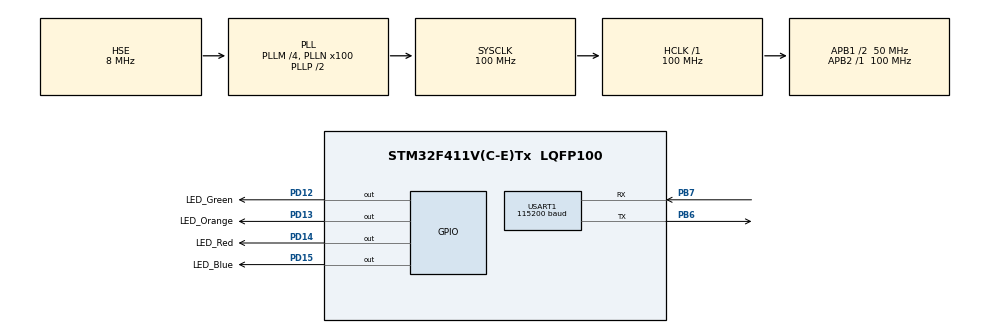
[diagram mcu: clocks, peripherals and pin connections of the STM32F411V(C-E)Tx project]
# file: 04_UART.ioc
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Dma.Request0=USART1_TX
Dma.Request1=USART1_RX
Dma.USART1_RX.1.Direction=DMA_PERIPH_TO_MEMORY
Dma.USART1_RX.1.FIFOMode=DMA_FIFOMODE_DISABLE
Dma.USART1_RX.1.Instance=DMA2_Stream2
Dma.USART1_RX.1.MemDataAlignment=DMA_MDATAALIGN_BYTE
Dma.USART1_RX.1.MemInc=DMA_MINC_ENABLE
Dma.USART1_RX.1.Mode=DMA_NORMAL
Dma.USART1_RX.1.PeriphDataAlignment=DMA_PDATAALIGN_BYTE
Dma.USART1_RX.1.PeriphInc=DMA_PINC_DISABLE
Dma.USART1_RX.1.Priority=DMA_PRIORITY_LOW
Dma.USART1_TX.0.Direction=DMA_MEMORY_TO_PERIPH
Dma.USART1_TX.0.FIFOMode=DMA_FIFOMODE_DISABLE
Dma.USART1_TX.0.Instance=DMA2_Stream7
Dma.USART1_TX.0.MemDataAlignment=DMA_MDATAALIGN_BYTE
Dma.USART1_TX.0.MemInc=DMA_MINC_ENABLE
Dma.USART1_TX.0.Mode=DMA_NORMAL
Dma.USART1_TX.0.PeriphDataAlignment=DMA_PDATAALIGN_BYTE
Dma.USART1_TX.0.PeriphInc=DMA_PINC_DISABLE
Dma.USART1_TX.0.Priority=DMA_PRIORITY_LOW
Mcu.Family=STM32F4
Mcu.Name=STM32F411V(C-E)Tx
Mcu.Package=LQFP100
NVIC.DMA2_Stream2_IRQn=true\:0\:0\:false\:false\:true
NVIC.DMA2_Stream7_IRQn=true\:0\:0\:false\:false\:true
NVIC.PriorityGroup=NVIC_PRIORITYGROUP_4
NVIC.TIM1_UP_TIM10_IRQn=true\:0\:0\:false\:false\:true
NVIC.USART1_IRQn=true\:0\:0\:false\:false\:true
PB6.Mode=Asynchronous
PB6.Signal=USART1_TX
PB7.Mode=Asynchronous
PB7.Signal=USART1_RX
PD12.GPIO_Label=LED_Green
PD12.Signal=GPIO_Output
PD13.GPIO_Label=LED_Orange
PD13.Signal=GPIO_Output
PD14.GPIO_Label=LED_Red
PD14.Signal=GPIO_Output
PD15.GPIO_Label=LED_Blue
PD15.Signal=GPIO_Output
PH0\ -\ OSC_IN.Mode=HSE-External-Oscillator
PH0\ -\ OSC_IN.Signal=RCC_OSC_IN
PH1\ -\ OSC_OUT.Mode=HSE-External-Oscillator
PH1\ -\ OSC_OUT.Signal=RCC_OSC_OUT
ProjectManager.HeapSize=0x200
ProjectManager.StackSize=0x400
ProjectManager.TargetToolchain=SW4STM32
RCC.48MHZClocksFreq_Value=50000000
RCC.AHBFreq_Value=100000000
RCC.APB1CLKDivider=RCC_HCLK_DIV2
RCC.APB1Freq_Value=50000000
RCC.APB1TimFreq_Value=100000000
RCC.APB2Freq_Value=100000000
RCC.APB2TimFreq_Value=100000000
RCC.CortexFreq_Value=100000000
RCC.HCLKFreq_Value=100000000
RCC.HSE_VALUE=8000000
RCC.HSI_VALUE=16000000
RCC.LSE_VALUE=32768
RCC.PLLM=4
RCC.PLLN=100
RCC.PLLSourceVirtual=RCC_PLLSOURCE_HSE
RCC.SYSCLKFreq_VALUE=100000000
RCC.SYSCLKSource=RCC_SYSCLKSOURCE_PLLCLK
RCC.VCOOutputFreq_Value=200000000
TIM10.Period=9999
TIM10.Prescaler=9999
USART1.BaudRate=115200
VP_TIM10_VS_ClockSourceINT.Mode=Enable_Timer
board=04_UART

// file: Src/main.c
/**
  ******************************************************************************
  * File Name          : main.c
  * Description        : Main program body
  ******************************************************************************
  *
  * COPYRIGHT(c) 2017 STMicroelectronics
  *
  * Redistribution and use in source and binary forms, with or without modification,
  * are permitted provided that the following conditions are met:
  *   1. Redistributions of source code must retain the above copyright notice,
  *      this list of conditions and the following disclaimer.
  *   2. Redistributions in binary form must reproduce the above copyright notice,
  *      this list of conditions and the following disclaimer in the documentation
  *      and/or other materials provided with the distribution.
  *   3. Neither the name of STMicroelectronics nor the names of its contributors
  *      may be used to endorse or promote products derived from this software
  *      without specific prior written permission.
  *
  * THIS SOFTWARE IS PROVIDED BY THE COPYRIGHT HOLDERS AND CONTRIBUTORS "AS IS"
  * AND ANY EXPRESS OR IMPLIED WARRANTIES, INCLUDING, BUT NOT LIMITED TO, THE
  * IMPLIED WARRANTIES OF MERCHANTABILITY AND FITNESS FOR A PARTICULAR PURPOSE ARE
  * DISCLAIMED. IN NO EVENT SHALL THE COPYRIGHT HOLDER OR CONTRIBUTORS BE LIABLE
  * FOR ANY DIRECT, INDIRECT, INCIDENTAL, SPECIAL, EXEMPLARY, OR CONSEQUENTIAL
  * DAMAGES (INCLUDING, BUT NOT LIMITED TO, PROCUREMENT OF SUBSTITUTE GOODS OR
  * SERVICES; LOSS OF USE, DATA, OR PROFITS; OR BUSINESS INTERRUPTION) HOWEVER
  * CAUSED AND ON ANY THEORY OF LIABILITY, WHETHER IN CONTRACT, STRICT LIABILITY,
  * OR TORT (INCLUDING NEGLIGENCE OR OTHERWISE) ARISING IN ANY WAY OUT OF THE USE
  * OF THIS SOFTWARE, EVEN IF ADVISED OF THE POSSIBILITY OF SUCH DAMAGE.
  *
  ******************************************************************************
  */
#include "main.h"
#include "stm32f4xx_hal.h"

TIM_HandleTypeDef htim10;

UART_HandleTypeDef huart1;
DMA_HandleTypeDef hdma_usart1_tx;
DMA_HandleTypeDef hdma_usart1_rx;

/* USER CODE BEGIN PV */
/* Private variables ---------------------------------------------------------*/
uint8_t Received;
/* USER CODE END PV */

void SystemClock_Config(void);
void Error_Handler(void);
static void MX_GPIO_Init(void);
static void MX_DMA_Init(void);
static void MX_TIM10_Init(void);
static void MX_USART1_UART_Init(void);

/* USER CODE BEGIN PFP */
/* Private function prototypes -----------------------------------------------*/
void HAL_UART_RxCpltCallback(UART_HandleTypeDef *huart) {

 uint8_t Data[50]; // Tablica przechowujaca wysylana wiadomosc.
 uint16_t size = 0; // Rozmiar wysylanej wiadomosci

 // Odebrany znak zostaje przekonwertowany na liczbe calkowita i sprawdzony
 // instrukcja warunkowa
 switch (atoi(&Received)) {
 	 case 0: // Jezeli odebrany zostanie znak 0
 		 size = sprintf(Data, "STOP\n\r");
 		 HAL_GPIO_WritePin(LED_Blue_GPIO_Port, LED_Blue_Pin, GPIO_PIN_RESET);
 		 HAL_GPIO_WritePin(LED_Red_GPIO_Port, LED_Red_Pin, GPIO_PIN_RESET);
 		 HAL_GPIO_WritePin(LED_Orange_GPIO_Port, LED_Orange_Pin, GPIO_PIN_RESET);
 		 HAL_GPIO_WritePin(LED_Green_GPIO_Port, LED_Green_Pin, GPIO_PIN_RESET);
 		 break;

 	 case 1: // Jezeli odebrany zostanie znak 1
 		 size = sprintf(Data, "Zmieniono stan diody niebieskiej\n\r");
 		 HAL_GPIO_TogglePin(LED_Blue_GPIO_Port, LED_Blue_Pin);
 		 break;

 	 case 2: // Jezeli odebrany zostanie znak 1
 		 size = sprintf(Data, "Zmieniono stan diody czerwonej\n\r");
 		 HAL_GPIO_TogglePin(LED_Red_GPIO_Port, LED_Red_Pin);
 		 break;

 	 case 3: // Jezeli odebrany zostanie znak 1
 		 size = sprintf(Data, "Zmieniono stan diody pomaranczowej\n\r");
 		 HAL_GPIO_TogglePin(LED_Orange_GPIO_Port, LED_Orange_Pin);
 		 break;

 	 case 4: // Jezeli odebrany zostanie znak 1
 		 size = sprintf(Data, "Zmieniono stan diody zielonej\n\r");
 		 HAL_GPIO_TogglePin(LED_Green_GPIO_Port, LED_Green_Pin);
 		 break;

 	 default: // Jezeli odebrano nieobslugiwany znak
 		 size = sprintf(Data, "Odebrano nieznany znak: %c\n\r", Received);
 		 break;
 }

 HAL_UART_Transmit_IT(&huart1, Data, size); // Rozpoczecie nadawania danych z wykorzystaniem przerwan
 HAL_UART_Receive_IT(&huart1, &Received, 1); // Ponowne w³¹czenie nas³uchiwania
}
/* USER CODE END PFP */

int main(void)
{

  /* MCU Configuration----------------------------------------------------------*/

  /* Reset of all peripherals, Initializes the Flash interface and the Systick. */
  HAL_Init();

  /* Configure the system clock */
  SystemClock_Config();

  /* Initialize all configured peripherals */
  MX_GPIO_Init();
  MX_DMA_Init();
  MX_TIM10_Init();
  MX_USART1_UART_Init();

  /* USER CODE BEGIN 2 */
  HAL_UART_Receive_IT(&huart1, &Received, 1);
  /* USER CODE END 2 */

  /* Infinite loop */
  while (1)
  {

  }

}

/** System Clock Configuration
*/
void SystemClock_Config(void)
{

  RCC_OscInitTypeDef RCC_OscInitStruct;
  RCC_ClkInitTypeDef RCC_ClkInitStruct;

    /**Configure the main internal regulator output voltage
    */
  __HAL_RCC_PWR_CLK_ENABLE();

  __HAL_PWR_VOLTAGESCALING_CONFIG(PWR_REGULATOR_VOLTAGE_SCALE1);

    /**Initializes the CPU, AHB and APB busses clocks
    */
  RCC_OscInitStruct.OscillatorType = RCC_OSCILLATORTYPE_HSE;
  RCC_OscInitStruct.HSEState = RCC_HSE_ON;
  RCC_OscInitStruct.PLL.PLLState = RCC_PLL_ON;
  RCC_OscInitStruct.PLL.PLLSource = RCC_PLLSOURCE_HSE;
  RCC_OscInitStruct.PLL.PLLM = 4;
  RCC_OscInitStruct.PLL.PLLN = 100;
  RCC_OscInitStruct.PLL.PLLP = RCC_PLLP_DIV2;
  RCC_OscInitStruct.PLL.PLLQ = 4;
  if (HAL_RCC_OscConfig(&RCC_OscInitStruct) != HAL_OK)
  {
    Error_Handler();
  }

    /**Initializes the CPU, AHB and APB busses clocks
    */
  RCC_ClkInitStruct.ClockType = RCC_CLOCKTYPE_HCLK|RCC_CLOCKTYPE_SYSCLK
                              |RCC_CLOCKTYPE_PCLK1|RCC_CLOCKTYPE_PCLK2;
  RCC_ClkInitStruct.SYSCLKSource = RCC_SYSCLKSOURCE_PLLCLK;
  RCC_ClkInitStruct.AHBCLKDivider = RCC_SYSCLK_DIV1;
  RCC_ClkInitStruct.APB1CLKDivider = RCC_HCLK_DIV2;
  RCC_ClkInitStruct.APB2CLKDivider = RCC_HCLK_DIV1;

  if (HAL_RCC_ClockConfig(&RCC_ClkInitStruct, FLASH_LATENCY_3) != HAL_OK)
  {
    Error_Handler();
  }

    /**Configure the Systick interrupt time
    */
  HAL_SYSTICK_Config(HAL_RCC_GetHCLKFreq()/1000);

    /**Configure the Systick
    */
  HAL_SYSTICK_CLKSourceConfig(SYSTICK_CLKSOURCE_HCLK);

  /* SysTick_IRQn interrupt configuration */
  HAL_NVIC_SetPriority(SysTick_IRQn, 0, 0);
}

/* TIM10 init function */
static void MX_TIM10_Init(void)
{

  htim10.Instance = TIM10;
  htim10.Init.Prescaler = 9999;
  htim10.Init.CounterMode = TIM_COUNTERMODE_UP;
  htim10.Init.Period = 9999;
  htim10.Init.ClockDivision = TIM_CLOCKDIVISION_DIV1;
  if (HAL_TIM_Base_Init(&htim10) != HAL_OK)
  {
    Error_Handler();
  }

}

/* USART1 init function */
static void MX_USART1_UART_Init(void)
{

  huart1.Instance = USART1;
  huart1.Init.BaudRate = 115200;
  huart1.Init.WordLength = UART_WORDLENGTH_8B;
  huart1.Init.StopBits = UART_STOPBITS_1;
  huart1.Init.Parity = UART_PARITY_NONE;
  huart1.Init.Mode = UART_MODE_TX_RX;
  huart1.Init.HwFlowCtl = UART_HWCONTROL_NONE;
  huart1.Init.OverSampling = UART_OVERSAMPLING_16;
  if (HAL_UART_Init(&huart1) != HAL_OK)
  {
    Error_Handler();
  }

}

static void MX_DMA_Init(void)
{
  /* DMA controller clock enable */
  __HAL_RCC_DMA2_CLK_ENABLE();

  /* DMA interrupt init */
  /* DMA2_Stream2_IRQn interrupt configuration */
  HAL_NVIC_SetPriority(DMA2_Stream2_IRQn, 0, 0);
  HAL_NVIC_EnableIRQ(DMA2_Stream2_IRQn);
  /* DMA2_Stream7_IRQn interrupt configuration */
  HAL_NVIC_SetPriority(DMA2_Stream7_IRQn, 0, 0);
  HAL_NVIC_EnableIRQ(DMA2_Stream7_IRQn);

}

/** Configure pins as
        * Analog
        * Input
        * Output
        * EVENT_OUT
        * EXTI
*/
static void MX_GPIO_Init(void)
{

  GPIO_InitTypeDef GPIO_InitStruct;

  /* GPIO Ports Clock Enable */
  __HAL_RCC_GPIOH_CLK_ENABLE();
  __HAL_RCC_GPIOD_CLK_ENABLE();
  __HAL_RCC_GPIOB_CLK_ENABLE();

  /*Configure GPIO pin Output Level */
  HAL_GPIO_WritePin(GPIOD, LED_Green_Pin|LED_Orange_Pin|LED_Red_Pin|LED_Blue_Pin, GPIO_PIN_RESET);

  /*Configure GPIO pins : LED_Green_Pin LED_Orange_Pin LED_Red_Pin LED_Blue_Pin */
  GPIO_InitStruct.Pin = LED_Green_Pin|LED_Orange_Pin|LED_Red_Pin|LED_Blue_Pin;
  GPIO_InitStruct.Mode = GPIO_MODE_OUTPUT_PP;
  GPIO_InitStruct.Pull = GPIO_NOPULL;
  GPIO_InitStruct.Speed = GPIO_SPEED_FREQ_LOW;
  HAL_GPIO_Init(GPIOD, &GPIO_InitStruct);

}

void Error_Handler(void)
{
  while(1)
  {
  }
}

/************************ (C) COPYRIGHT STMicroelectronics *****END OF FILE****/
